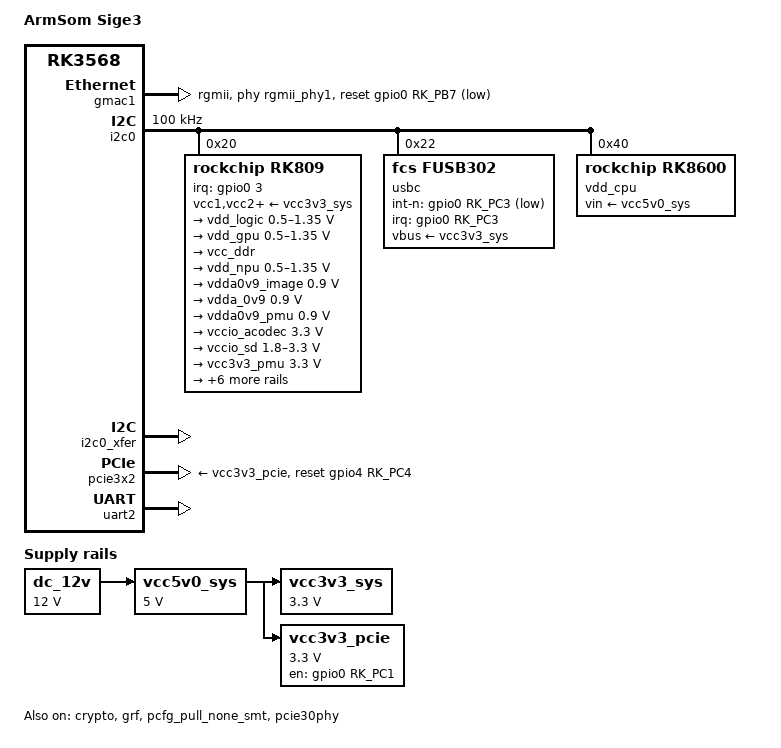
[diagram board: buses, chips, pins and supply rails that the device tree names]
/*
 * SPDX-License-Identifier:     GPL-2.0+
 *
 * (C) Copyright 2020 Rockchip Electronics Co., Ltd
 */

/dts-v1/;
#include "rk3568.dtsi"
#include "rk3568-u-boot.dtsi"
#include <dt-bindings/input/input.h>
#include <dt-bindings/usb/pd.h>

/ {
	model = "ArmSom Sige3";
	compatible = "armsom,sige3", "rockchip,rk3568";

	dc_12v: dc-12v {
		u-boot,dm-pre-reloc;
		compatible = "regulator-fixed";
		regulator-name = "dc_12v";
		regulator-always-on;
		regulator-boot-on;
		regulator-min-microvolt = <12000000>;
		regulator-max-microvolt = <12000000>;
	};

	vcc5v0_sys: vcc5v0-sys {
		u-boot,dm-pre-reloc;
		compatible = "regulator-fixed";
		regulator-name = "vcc5v0_sys";
		regulator-always-on;
		regulator-boot-on;
		regulator-min-microvolt = <5000000>;
		regulator-max-microvolt = <5000000>;
		vin-supply = <&dc_12v>;
	};

	vcc3v3_sys: vcc3v3-sys {
		u-boot,dm-pre-reloc;
		compatible = "regulator-fixed";
		regulator-name = "vcc3v3_sys";
		regulator-always-on;
		regulator-boot-on;
		regulator-min-microvolt = <3300000>;
		regulator-max-microvolt = <3300000>;
		vin-supply = <&vcc5v0_sys>;
	};

	vcc3v3_pcie: gpio-regulator {
		u-boot,dm-pre-reloc;
		compatible = "regulator-fixed";
		regulator-name = "vcc3v3_pcie";
		regulator-min-microvolt = <3300000>;
		regulator-max-microvolt = <3300000>;
		enable-active-high;
		gpio = <&gpio0 RK_PC1 GPIO_ACTIVE_HIGH>;
		startup-delay-us = <5000>;
		vin-supply = <&vcc5v0_sys>;
	};
};

&crypto {
	status = "okay";
};

&gmac1 {
	u-boot,dm-pre-reloc;
	phy-mode = "rgmii";
	clock_in_out = "output";

	snps,reset-gpio = <&gpio0 RK_PB7 GPIO_ACTIVE_LOW>;
	snps,reset-active-low;
	/* Reset time is 20ms, 100ms for rtl8211f */
	snps,reset-delays-us = <0 20000 100000>;

	assigned-clocks = <&cru SCLK_GMAC1_RX_TX>, <&cru SCLK_GMAC1>;
	assigned-clock-parents = <&cru SCLK_GMAC1_RGMII_SPEED>;
	assigned-clock-rates = <0>, <125000000>;

	pinctrl-names = "default";
	pinctrl-0 = <&gmac1m1_miim
		     &gmac1m1_tx_bus2
		     &gmac1m1_rx_bus2
		     &gmac1m1_rgmii_clk
		     &gmac1m1_rgmii_bus>;

	tx_delay = <0x4f>;
	rx_delay = <0x26>;

	phy-handle = <&rgmii_phy1>;
	status = "okay";
};

&gpio0 {
	u-boot,dm-pre-reloc;
};

&gpio4 {
	u-boot,dm-pre-reloc;
};

&grf {
	u-boot,dm-pre-reloc;
	status = "okay";
};

&i2c0 {
	status = "okay";
	u-boot,dm-pre-reloc;
	clock-frequency = <100000>;

	rk809: pmic@20 {
		u-boot,dm-pre-reloc;
		status = "okay";
		compatible = "rockchip,rk809";
		reg = <0x20>;
		interrupt-parent = <&gpio0>;
		interrupts = <3 IRQ_TYPE_LEVEL_LOW>;

		pinctrl-names = "default", "pmic-sleep",
				"pmic-power-off", "pmic-reset";
		pinctrl-0 = <&pmic_int>;
		pinctrl-1 = <&soc_slppin_slp>, <&rk817_slppin_slp>;
		pinctrl-2 = <&soc_slppin_gpio>, <&rk817_slppin_pwrdn>;
		pinctrl-3 = <&soc_slppin_gpio>, <&rk817_slppin_rst>;

		rockchip,system-power-controller;
		wakeup-source;
		#clock-cells = <1>;
		clock-output-names = "rk808-clkout1", "rk808-clkout2";
		//fb-inner-reg-idxs = <2>;
		/* 1: rst regs (default in codes), 0: rst the pmic */
		pmic-reset-func = <0>;
		/* not save the PMIC_POWER_EN register in uboot */
		not-save-power-en = <1>;

		vcc1-supply = <&vcc3v3_sys>;
		vcc2-supply = <&vcc3v3_sys>;
		vcc3-supply = <&vcc3v3_sys>;
		vcc4-supply = <&vcc3v3_sys>;
		vcc5-supply = <&vcc3v3_sys>;
		vcc6-supply = <&vcc3v3_sys>;
		vcc7-supply = <&vcc3v3_sys>;
		vcc8-supply = <&vcc3v3_sys>;
		vcc9-supply = <&vcc3v3_sys>;

		pwrkey {
			status = "okay";
			u-boot,dm-pre-reloc;
		};

		pinctrl_rk8xx: pinctrl_rk8xx {
			u-boot,dm-pre-reloc;
			gpio-controller;
			#gpio-cells = <2>;

			rk817_slppin_null: rk817_slppin_null {
				pins = "gpio_slp";
				function = "pin_fun0";
				u-boot,dm-pre-reloc;
			};

			rk817_slppin_slp: rk817_slppin_slp {
				pins = "gpio_slp";
				function = "pin_fun1";
				u-boot,dm-pre-reloc;
			};

			rk817_slppin_pwrdn: rk817_slppin_pwrdn {
				pins = "gpio_slp";
				function = "pin_fun2";
				u-boot,dm-pre-reloc;
			};

			rk817_slppin_rst: rk817_slppin_rst {
				pins = "gpio_slp";
				function = "pin_fun3";
				u-boot,dm-pre-reloc;
			};
		};

		regulators {
			u-boot,dm-pre-reloc;
			vdd_logic: DCDC_REG1 {
				u-boot,dm-pre-reloc;
				regulator-always-on;
				regulator-boot-on;
				regulator-min-microvolt = <500000>;
				regulator-max-microvolt = <1350000>;
				regulator-init-microvolt = <900000>;
				regulator-ramp-delay = <6001>;
				regulator-initial-mode = <0x2>;
				regulator-name = "vdd_logic";
				regulator-state-mem {
					u-boot,dm-pre-reloc;
					regulator-on-in-suspend;
				};
			};

			vdd_gpu: DCDC_REG2 {
				u-boot,dm-pre-reloc;
				regulator-always-on;
				regulator-boot-on;
				regulator-min-microvolt = <500000>;
				regulator-max-microvolt = <1350000>;
				regulator-init-microvolt = <900000>;
				regulator-ramp-delay = <6001>;
				regulator-initial-mode = <0x2>;
				regulator-name = "vdd_gpu";
				regulator-state-mem {
					u-boot,dm-pre-reloc;
					regulator-on-in-suspend;
				};
			};

			vcc_ddr: DCDC_REG3 {
				u-boot,dm-pre-reloc;
				regulator-always-on;
				regulator-boot-on;
				regulator-initial-mode = <0x2>;
				regulator-name = "vcc_ddr";
				regulator-state-mem {
					u-boot,dm-pre-reloc;
					regulator-on-in-suspend;
				};
			};

			vdd_npu: DCDC_REG4 {
				u-boot,dm-pre-reloc;
				regulator-always-on;
				regulator-boot-on;
				regulator-min-microvolt = <500000>;
				regulator-max-microvolt = <1350000>;
				regulator-init-microvolt = <900000>;
				regulator-ramp-delay = <6001>;
				regulator-initial-mode = <0x2>;
				regulator-name = "vdd_npu";
				regulator-state-mem {
					u-boot,dm-pre-reloc;
					regulator-on-in-suspend;
				};
			};

			vdda0v9_image: LDO_REG1 {
				u-boot,dm-pre-reloc;
				regulator-boot-on;
				regulator-always-on;
				regulator-min-microvolt = <900000>;
				regulator-max-microvolt = <900000>;
				regulator-name = "vdda0v9_image";
				regulator-state-mem {
					u-boot,dm-pre-reloc;
					regulator-off-in-suspend;
				};
			};

			vdda_0v9: LDO_REG2 {
				u-boot,dm-pre-reloc;
				regulator-always-on;
				regulator-boot-on;
				regulator-min-microvolt = <900000>;
				regulator-max-microvolt = <900000>;
				regulator-name = "vdda_0v9";
				regulator-state-mem {
					u-boot,dm-pre-reloc;
					regulator-off-in-suspend;
				};
			};

			vdda0v9_pmu: LDO_REG3 {
				u-boot,dm-pre-reloc;
				regulator-always-on;
				regulator-boot-on;
				regulator-min-microvolt = <900000>;
				regulator-max-microvolt = <900000>;
				regulator-name = "vdda0v9_pmu";
				regulator-state-mem {
					u-boot,dm-pre-reloc;
					regulator-on-in-suspend;
					regulator-suspend-microvolt = <900000>;
				};
			};

			vccio_acodec: LDO_REG4 {
				u-boot,dm-pre-reloc;
				regulator-always-on;
				regulator-boot-on;
				regulator-min-microvolt = <3300000>;
				regulator-max-microvolt = <3300000>;
				regulator-name = "vccio_acodec";
				regulator-state-mem {
					u-boot,dm-pre-reloc;
					regulator-off-in-suspend;
				};
			};

			vccio_sd: LDO_REG5 {
				u-boot,dm-pre-reloc;
				regulator-always-on;
				regulator-boot-on;
				regulator-min-microvolt = <1800000>;
				regulator-max-microvolt = <3300000>;
				regulator-name = "vccio_sd";
				regulator-state-mem {
					u-boot,dm-pre-reloc;
					regulator-off-in-suspend;
				};
			};

			vcc3v3_pmu: LDO_REG6 {
				u-boot,dm-pre-reloc;
				regulator-always-on;
				regulator-boot-on;
				regulator-min-microvolt = <3300000>;
				regulator-max-microvolt = <3300000>;
				regulator-name = "vcc3v3_pmu";
				regulator-state-mem {
					u-boot,dm-pre-reloc;
					regulator-on-in-suspend;
					regulator-suspend-microvolt = <3300000>;
				};
			};

			vcca_1v8: LDO_REG7 {
				u-boot,dm-pre-reloc;
				regulator-always-on;
				regulator-boot-on;
				regulator-min-microvolt = <1800000>;
				regulator-max-microvolt = <1800000>;
				regulator-name = "vcca_1v8";
				regulator-state-mem {
					u-boot,dm-pre-reloc;
					regulator-off-in-suspend;
				};
			};

			vcca1v8_pmu: LDO_REG8 {
				u-boot,dm-pre-reloc;
				regulator-always-on;
				regulator-boot-on;
				regulator-min-microvolt = <1800000>;
				regulator-max-microvolt = <1800000>;
				regulator-name = "vcca1v8_pmu";
				regulator-state-mem {
					u-boot,dm-pre-reloc;
					regulator-on-in-suspend;
					regulator-suspend-microvolt = <1800000>;
				};
			};

			vcca1v8_image: LDO_REG9 {
				u-boot,dm-pre-reloc;
				regulator-always-on;
				regulator-boot-on;
				regulator-min-microvolt = <1800000>;
				regulator-max-microvolt = <1800000>;
				regulator-name = "vcca1v8_image";
				regulator-state-mem {
					u-boot,dm-pre-reloc;
					regulator-off-in-suspend;
				};
			};

			vcc_1v8: DCDC_REG5 {
				u-boot,dm-pre-reloc;
				regulator-always-on;
				regulator-boot-on;
				regulator-min-microvolt = <1800000>;
				regulator-max-microvolt = <1800000>;
				regulator-name = "vcc_1v8";
				regulator-state-mem {
					u-boot,dm-pre-reloc;
					regulator-off-in-suspend;
				};
			};

			vcc_3v3: SWITCH_REG1 {
				u-boot,dm-pre-reloc;
				regulator-always-on;
				regulator-boot-on;
				regulator-name = "vcc_3v3";
				regulator-state-mem {
					u-boot,dm-pre-reloc;
					regulator-off-in-suspend;
				};
			};

			vcc3v3_sd: SWITCH_REG2 {
				u-boot,dm-pre-reloc;
				regulator-always-on;
				regulator-boot-on;
				regulator-name = "vcc3v3_sd";
				regulator-state-mem {
					u-boot,dm-pre-reloc;
					regulator-off-in-suspend;
				};
			};
		};
	};

	usbc: fusb302@22 {
		u-boot,dm-pre-reloc;
		compatible = "fcs,fusb302";
		reg = <0x22>;
		interrupt-parent = <&gpio0>;
		interrupts = <RK_PC3 IRQ_TYPE_LEVEL_LOW>;
		int-n-gpios = <&gpio0 RK_PC3 GPIO_ACTIVE_LOW>;
		pinctrl-names = "default";
		pinctrl-0 = <&usbc1_int>;
		vbus-supply = <&vcc3v3_sys>;
		status = "okay";
		usb_con: connector {
			u-boot,dm-pre-reloc;
			compatible = "usb-c-connector";
			label = "USB-C";
			data-role = "dual";
			power-role = "sink";
			try-power-role = "sink";
			op-sink-microwatt = <1000000>;
			sink-pdos =
				<PDO_FIXED(5000, 3000, PDO_FIXED_USB_COMM)
				 PDO_FIXED(9000, 3000, PDO_FIXED_USB_COMM)
				 PDO_FIXED(12000, 3000, PDO_FIXED_USB_COMM)>;
		};
	};

	vdd_cpu: rk8600@40 {
		u-boot,dm-pre-reloc;
		compatible = "rockchip,rk8600";
		reg = <0x40>;
		vin-supply = <&vcc5v0_sys>;
		regulator-compatible = "rk860x-reg";
		regulator-name = "vdd_cpu";
		regulator-min-microvolt = <712500>;
		regulator-max-microvolt = <1390000>;
		regulator-init-microvolt = <900000>;
		regulator-ramp-delay = <2300>;
		fcs,suspend-voltage-selector = <1>;
		regulator-boot-on;
		regulator-always-on;
		regulator-state-mem {
			u-boot,dm-pre-reloc;
			regulator-off-in-suspend;
		};
	};

};

&i2c0_xfer {
	u-boot,dm-pre-reloc;
	status = "okay";
};

&pcfg_pull_none_smt {
	u-boot,dm-pre-reloc;
	status = "okay";
};

&pcie30_phy_grf {
	u-boot,dm-pre-reloc;
};

&pcie3x2 {
	u-boot,dm-pre-reloc;
	vpcie3v3-supply = <&vcc3v3_pcie>;
	reset-gpios = <&gpio4 RK_PC4 GPIO_ACTIVE_HIGH>;
	status = "okay";
};

&pcie30phy {
	u-boot,dm-pre-reloc;
	status = "okay";
};

&pinctrl {
	u-boot,dm-spl;
	pmic {
		u-boot,dm-pre-reloc;
		pmic_int: pmic_int {
			u-boot,dm-pre-reloc;
			rockchip,pins =
				<0 RK_PA3 RK_FUNC_GPIO &pcfg_pull_up>;
		};

		soc_slppin_gpio: soc_slppin_gpio {
			u-boot,dm-pre-reloc;
			rockchip,pins =
				<0 RK_PA2 RK_FUNC_GPIO &pcfg_output_low_pull_down>;
		};

		soc_slppin_slp: soc_slppin_slp {
			u-boot,dm-pre-reloc;
			rockchip,pins =
				<0 RK_PA2 RK_FUNC_1 &pcfg_pull_up>;
		};

		soc_slppin_rst: soc_slppin_rst {
			u-boot,dm-pre-reloc;
			rockchip,pins =
				<0 RK_PA2 RK_FUNC_2 &pcfg_pull_none>;
		};
	};

	usb {
		u-boot,dm-pre-reloc;
		usbc1_int: usbc1-int {
			u-boot,dm-pre-reloc;
			rockchip,pins = <0 RK_PC3 RK_FUNC_GPIO &pcfg_pull_up>;
		};
	};
};

&pmu_io_domains {
	status = "okay";
	pmuio2-supply = <&vcc3v3_pmu>;
	vccio1-supply = <&vccio_acodec>;
	vccio3-supply = <&vccio_sd>;
	vccio4-supply = <&vcc_1v8>;
	vccio5-supply = <&vcc_3v3>;
	vccio6-supply = <&vcc_1v8>;
	vccio7-supply = <&vcc_3v3>;
	u-boot,dm-pre-reloc;
};

&pmucru {
	u-boot,dm-pre-reloc;
	status = "okay";
};

&pmugrf {
	u-boot,dm-pre-reloc;
	status = "okay";
};

&uart2 {
	status = "okay";
};
